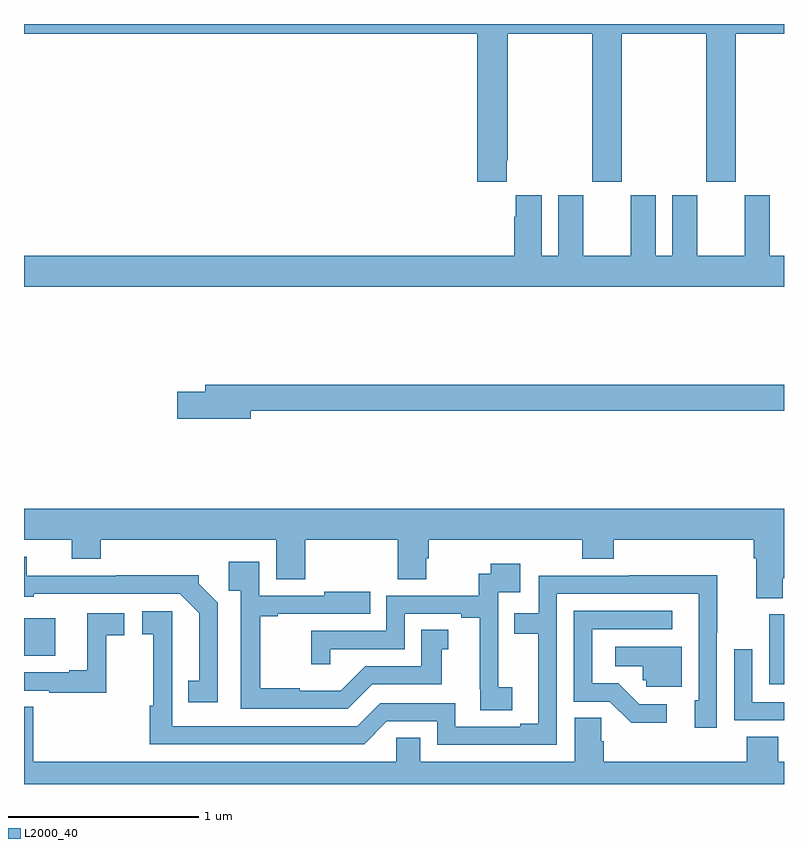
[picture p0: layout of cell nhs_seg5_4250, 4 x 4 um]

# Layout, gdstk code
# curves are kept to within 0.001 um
import gdstk
lib = gdstk.Library(unit=1e-6, precision=1e-09)
def R(c, l, rs):  # rectangles x0, y0, x1, y1
    for r in rs: c.add(gdstk.rectangle(r[:2], r[2:], *l))
def P(c, l, *ps):  # polygons
    for p in ps: c.add(gdstk.Polygon(p, *l))
L2000_40 = (2000, 40)

nhs_seg5_4250 = lib.new_cell('nhs_seg5_4250')
R(nhs_seg5_4250, L2000_40, [(364.922,865.325,365,865.692), (361,865.475,361.165,865.672)])
P(nhs_seg5_4250, L2000_40, [(363.541,868.081),(363.546,868.081),(363.546,868.748),(363.991,868.748),(363.991,867.969),(364.146,867.969),(364.146,868.748),(364.591,868.748),(364.591,867.969),(364.746,867.969),(364.746,868.748),(365,868.748),(365,868.799),(361,868.799),(361,868.748),(363.386,868.748),(363.386,867.969),(363.541,867.969)],
  [(365,867.58),(364.924,867.58),(364.924,867.898),(364.793,867.898),(364.793,867.58),(364.543,867.58),(364.543,867.898),(364.412,867.898),(364.412,867.58),(364.324,867.58),(364.324,867.898),(364.193,867.898),(364.193,867.58),(363.943,867.58),(363.943,867.898),(363.812,867.898),(363.812,867.58),(363.724,867.58),(363.724,867.898),(363.587,867.898),(363.587,867.785),(363.581,867.785),(363.581,867.58),(361,867.58),(361,867.416),(365,867.416)],
  [(362.194,866.764),(365,866.764),(365,866.9),(361.955,866.9),(361.955,866.864),(361.806,866.864),(361.806,866.722),(362.194,866.722)],
  [(364.993,865.882),(365,865.882),(365,866.248),(361,866.248),(361,866.084),(361.25,866.084),(361.25,865.985),(361.403,865.985),(361.403,866.084),(362.327,866.084),(362.327,865.876),(362.48,865.876),(362.48,866.084),(362.966,866.084),(362.966,865.876),(363.118,865.876),(363.118,865.986),(363.131,865.986),(363.131,866.084),(363.938,866.084),(363.938,865.985),(364.103,865.985),(364.103,866.084),(364.841,866.084),(364.841,865.988),(364.853,865.988),(364.853,865.777),(364.993,865.777)],
  [(362.019,865.754),(361.92,865.853),(361.92,865.898),(361.486,865.898),(361.486,865.896),(361.014,865.896),(361.014,865.995),(361,865.995),(361,865.784),(361.05,865.784),(361.05,865.8),(361.821,865.8),(361.922,865.699),(361.922,865.343),(361.864,865.343),(361.864,865.23),(362.019,865.23)],
  [(362.832,865.323),(363.199,865.323),(363.199,865.507),(363.232,865.507),(363.232,865.61),(363.092,865.61),(363.092,865.419),(362.796,865.419),(362.668,865.291),(362.45,865.291),(362.45,865.303),(362.243,865.303),(362.243,865.683),(362.335,865.683),(362.335,865.695),(362.822,865.695),(362.822,865.81),(362.579,865.81),(362.579,865.791),(362.238,865.791),(362.238,865.969),(362.077,865.969),(362.077,865.817),(362.142,865.817),(362.142,865.194),(362.703,865.194)],
  [(363.571,865.308),(363.497,865.308),(363.497,865.505),(363.495,865.505),(363.495,865.809),(363.613,865.809),(363.613,865.957),(363.457,865.957),(363.457,865.905),(363.394,865.905),(363.394,865.791),(362.907,865.791),(362.907,865.605),(362.512,865.605),(362.512,865.428),(362.613,865.428),(362.613,865.509),(363.003,865.509),(363.003,865.695),(363.302,865.695),(363.302,865.675),(363.398,865.675),(363.398,865.297),(363.4,865.297),(363.4,865.186),(363.571,865.186)],
  [(363.804,865.8),(364.551,865.8),(364.551,865.239),(364.529,865.239),(364.529,865.095),(364.647,865.095),(364.647,865.594),(364.649,865.594),(364.649,865.898),(364.186,865.898),(364.186,865.896),(363.708,865.896),(363.708,865.698),(363.58,865.698),(363.58,865.59),(363.707,865.59),(363.707,865.116),(363.611,865.116),(363.611,865.101),(363.27,865.101),(363.27,865.224),(362.874,865.224),(362.754,865.104),(361.779,865.104),(361.78,865.708),(361.623,865.708),(361.623,865.587),(361.681,865.587),(361.681,865.211),(361.663,865.211),(361.663,865.008),(362.79,865.008),(362.91,865.128),(363.174,865.128),(363.174,865.005),(363.804,865.005)],
  [(364.384,865.218),(364.239,865.218),(364.128,865.329),(363.99,865.329),(363.99,865.614),(364.411,865.614),(364.411,865.71),(363.894,865.71),(363.894,865.233),(364.083,865.233),(364.196,865.121),(364.384,865.121)],
  [(361.434,865.582),(361.528,865.582),(361.528,865.698),(361.334,865.698),(361.334,865.399),(361.238,865.399),(361.238,865.386),(361,865.386),(361,865.29),(361.132,865.29),(361.132,865.278),(361.434,865.278)],
  [(364.462,865.522),(364.113,865.522),(364.113,865.418),(364.257,865.418),(364.257,865.344),(364.275,865.344),(364.275,865.311),(364.462,865.311)],
  [(365,865.23),(364.833,865.23),(364.833,865.507),(364.737,865.507),(364.737,865.134),(365,865.134)],
  [(365,864.916),(364.97,864.916),(364.97,865.049),(364.805,865.049),(364.805,864.916),(364.052,864.916),(364.052,865.025),(364.038,865.025),(364.038,865.148),(363.899,865.148),(363.899,864.916),(363.085,864.916),(363.085,865.043),(362.958,865.043),(362.958,864.916),(361.049,864.916),(361.049,865.205),(361,865.205),(361,864.799),(365,864.799)])

lib.write_gds('nhs_seg5_4250.gds')
